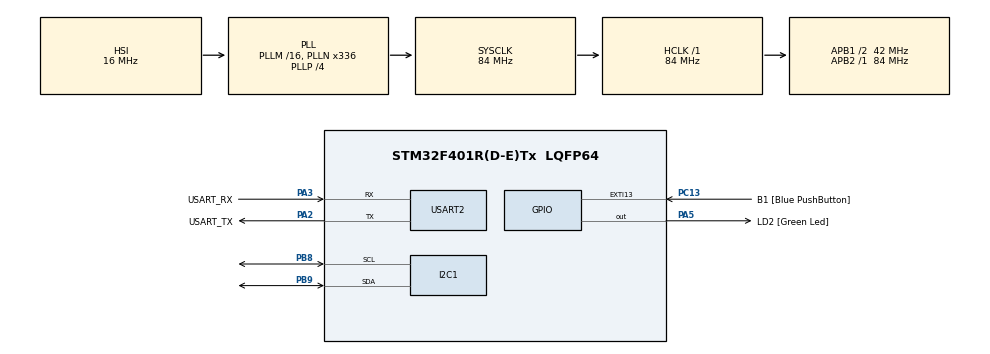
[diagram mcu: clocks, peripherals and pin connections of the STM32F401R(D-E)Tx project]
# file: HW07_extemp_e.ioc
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Dma.I2C1_RX.2.Direction=DMA_PERIPH_TO_MEMORY
Dma.I2C1_RX.2.FIFOMode=DMA_FIFOMODE_DISABLE
Dma.I2C1_RX.2.Instance=DMA1_Stream0
Dma.I2C1_RX.2.MemDataAlignment=DMA_MDATAALIGN_BYTE
Dma.I2C1_RX.2.MemInc=DMA_MINC_ENABLE
Dma.I2C1_RX.2.Mode=DMA_NORMAL
Dma.I2C1_RX.2.PeriphDataAlignment=DMA_PDATAALIGN_BYTE
Dma.I2C1_RX.2.PeriphInc=DMA_PINC_DISABLE
Dma.I2C1_RX.2.Priority=DMA_PRIORITY_HIGH
Dma.I2C1_TX.1.Direction=DMA_MEMORY_TO_PERIPH
Dma.I2C1_TX.1.FIFOMode=DMA_FIFOMODE_DISABLE
Dma.I2C1_TX.1.Instance=DMA1_Stream7
Dma.I2C1_TX.1.MemDataAlignment=DMA_MDATAALIGN_BYTE
Dma.I2C1_TX.1.MemInc=DMA_MINC_ENABLE
Dma.I2C1_TX.1.Mode=DMA_NORMAL
Dma.I2C1_TX.1.PeriphDataAlignment=DMA_PDATAALIGN_BYTE
Dma.I2C1_TX.1.PeriphInc=DMA_PINC_DISABLE
Dma.I2C1_TX.1.Priority=DMA_PRIORITY_HIGH
Dma.Request0=USART2_TX
Dma.Request1=I2C1_TX
Dma.Request2=I2C1_RX
Dma.USART2_TX.0.Direction=DMA_MEMORY_TO_PERIPH
Dma.USART2_TX.0.FIFOMode=DMA_FIFOMODE_DISABLE
Dma.USART2_TX.0.Instance=DMA1_Stream6
Dma.USART2_TX.0.MemDataAlignment=DMA_MDATAALIGN_BYTE
Dma.USART2_TX.0.MemInc=DMA_MINC_ENABLE
Dma.USART2_TX.0.Mode=DMA_NORMAL
Dma.USART2_TX.0.PeriphDataAlignment=DMA_PDATAALIGN_BYTE
Dma.USART2_TX.0.PeriphInc=DMA_PINC_DISABLE
Dma.USART2_TX.0.Priority=DMA_PRIORITY_HIGH
Mcu.Family=STM32F4
Mcu.Name=STM32F401R(D-E)Tx
Mcu.Package=LQFP64
NVIC.DMA1_Stream0_IRQn=true\:0\:0\:false\:false\:true\:false\:true\:true
NVIC.DMA1_Stream6_IRQn=true\:0\:0\:false\:false\:true\:false\:true\:true
NVIC.DMA1_Stream7_IRQn=true\:0\:0\:false\:false\:true\:false\:true\:true
NVIC.PriorityGroup=NVIC_PRIORITYGROUP_0
NVIC.TIM2_IRQn=true\:0\:0\:false\:false\:true\:true\:true\:true
NVIC.USART2_IRQn=true\:0\:0\:false\:false\:true\:true\:true\:true
PA13.GPIO_Label=TMS
PA13.Mode=Serial_Wire
PA13.Signal=SYS_JTMS-SWDIO
PA14.GPIO_Label=TCK
PA14.Mode=Serial_Wire
PA14.Signal=SYS_JTCK-SWCLK
PA2.GPIO_Label=USART_TX
PA2.GPIO_Mode=GPIO_MODE_AF_PP
PA2.GPIO_PuPd=GPIO_NOPULL
PA2.GPIO_Speed=GPIO_SPEED_FREQ_LOW
PA2.Mode=Asynchronous
PA2.Signal=USART2_TX
PA3.GPIO_Label=USART_RX
PA3.GPIO_Mode=GPIO_MODE_AF_PP
PA3.GPIO_PuPd=GPIO_NOPULL
PA3.GPIO_Speed=GPIO_SPEED_FREQ_LOW
PA3.Mode=Asynchronous
PA3.Signal=USART2_RX
PA5.GPIO_Label=LD2 [Green Led]
PA5.GPIO_Mode=GPIO_MODE_OUTPUT_PP
PA5.GPIO_PuPd=GPIO_NOPULL
PA5.GPIO_Speed=GPIO_SPEED_FREQ_LOW
PA5.Signal=GPIO_Output
PB3.GPIO_Label=SWO
PB3.Signal=SYS_JTDO-SWO
PB8.Mode=I2C
PB8.Signal=I2C1_SCL
PB9.Mode=I2C
PB9.Signal=I2C1_SDA
PC13-ANTI_TAMP.GPIO_Label=B1 [Blue PushButton]
PC13-ANTI_TAMP.GPIO_ModeDefaultEXTI=GPIO_MODE_IT_FALLING
PC13-ANTI_TAMP.GPIO_PuPd=GPIO_NOPULL
PC13-ANTI_TAMP.Signal=GPXTI13
PC14-OSC32_IN.Mode=LSE-External-Oscillator
PC14-OSC32_IN.Signal=RCC_OSC32_IN
PC15-OSC32_OUT.Mode=LSE-External-Oscillator
PC15-OSC32_OUT.Signal=RCC_OSC32_OUT
PH0\ -\ OSC_IN.Mode=HSE-External-Clock-Source
PH0\ -\ OSC_IN.Signal=RCC_OSC_IN
PH1\ -\ OSC_OUT.Mode=HSE-External-Clock-Source
PH1\ -\ OSC_OUT.Signal=RCC_OSC_OUT
ProjectManager.HeapSize=0x200
ProjectManager.StackSize=0x400
ProjectManager.TargetToolchain=STM32CubeIDE
RCC.48MHZClocksFreq_Value=48000000
RCC.AHBFreq_Value=84000000
RCC.APB1CLKDivider=RCC_HCLK_DIV2
RCC.APB1Freq_Value=42000000
RCC.APB1TimFreq_Value=84000000
RCC.APB2Freq_Value=84000000
RCC.APB2TimFreq_Value=84000000
RCC.CortexFreq_Value=84000000
RCC.HCLKFreq_Value=84000000
RCC.HSE_VALUE=8000000
RCC.HSI_VALUE=16000000
RCC.PLLN=336
RCC.PLLP=RCC_PLLP_DIV4
RCC.PLLQ=7
RCC.SYSCLKFreq_VALUE=84000000
RCC.SYSCLKSource=RCC_SYSCLKSOURCE_PLLCLK
RCC.VCOOutputFreq_Value=336000000
TIM2.Period=83999
TIM2.Prescaler=999
USART2.VirtualMode=VM_ASYNC
VP_TIM2_VS_ClockSourceINT.Mode=Internal
board=NUCLEO-F401RE

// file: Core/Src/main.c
/* USER CODE BEGIN Header */
/**
  ******************************************************************************
  * @file           : main.c
  * @brief          : Main program body
  ******************************************************************************
  * @attention
  *
  * Copyright (c) 2024 STMicroelectronics.
  * All rights reserved.
  *
  * This software is licensed under terms that can be found in the LICENSE file
  * in the root directory of this software component.
  * If no LICENSE file comes with this software, it is provided AS-IS.
  *
  ******************************************************************************
  */
/* USER CODE END Header */
#include "main.h"

/* USER CODE BEGIN PD */
#define LM75_PRECISION 0.5f // Or 0.125f
#define LM75_SIGNIFICANT_BITS 9 // Or 11
#define LM75_ADDRESS_W 0b10010000
#define LM75_ADDRESS_R 0b10010001

/* USER CODE END PD */

I2C_HandleTypeDef hi2c1;
DMA_HandleTypeDef hdma_i2c1_tx;
DMA_HandleTypeDef hdma_i2c1_rx;

TIM_HandleTypeDef htim2;

UART_HandleTypeDef huart2;
DMA_HandleTypeDef hdma_usart2_tx;

/* USER CODE BEGIN PV */

const uint8_t LM75_TEMP_ADDRESS = 0x00;
uint8_t buffer[2];
uint16_t previous;
uint16_t current;
uint8_t call_count = 0;
float f;
char output[28];

/* USER CODE END PV */

void SystemClock_Config(void);
static void MX_GPIO_Init(void);
static void MX_DMA_Init(void);
static void MX_USART2_UART_Init(void);
static void MX_I2C1_Init(void);
static void MX_TIM2_Init(void);

/* USER CODE BEGIN 0 */
HAL_I2C_MasterRxCpltCallback(I2C_HandleTypeDef *hi2c) {
	if (hi2c != &hi2c1)
		return;
	if (call_count == 0) {
		// the first time we store the value and trigger a second read
		call_count = 1;
		previous = buffer[0];
		previous = (previous << 8) + buffer[1];
		HAL_I2C_Master_Receive_DMA(&hi2c1, LM75_ADDRESS_R, buffer, 2);
		return;
	}
	call_count = 0;
	current = buffer[0];
	current = (current << 8) + buffer[1];

	if ((previous >> 8) != (current >> 8) // check of the integer part
		&& (previous & 255) == (current & 255)) { // 255 == 0b0000000011111111
		// integer differs and decimal is the same, so we restart
		HAL_I2C_Master_Receive_DMA(&hi2c1, LM75_ADDRESS_R, buffer, 2);
		return;
	}

	previous = current & 32767; // Same as doing & 0b0111111111111111 (15 bits) to ignore the sign bit forcing it to be 0
	f = (float) (previous >> (16 - LM75_SIGNIFICANT_BITS)); // The shift can be 5 or 7 depending on the board revision
	if ((current >> 15) > 0) // if negative
		f *= -1;
	// One-liner: ((current >> 15) > 0 ? -1 : 1) * ((float) ((current & 32767) >> (16 - LM75_SIGNIFICANT_BITS)))
	snprintf(output, sizeof(output), "Temp:  %.3f C\r\n", current, f * LM75_PRECISION); // The factor can be 0.125 or 0.5 depending on the board revision
	HAL_UART_Transmit_DMA(&huart2, output, strlen(output));
}

HAL_TIM_PeriodElapsedCallback(TIM_HandleTypeDef *htim){
	if(htim == &htim2){
		HAL_I2C_Master_Receive_DMA(&hi2c1, LM75_ADDRESS_R, buffer, 2);

	}
}
/* USER CODE END 0 */

int main(void)
{

  /* MCU Configuration--------------------------------------------------------*/

  /* Reset of all peripherals, Initializes the Flash interface and the Systick. */
  HAL_Init();

  /* Configure the system clock */
  SystemClock_Config();

  /* Initialize all configured peripherals */
  MX_GPIO_Init();
  MX_DMA_Init();
  MX_USART2_UART_Init();
  MX_I2C1_Init();
  MX_TIM2_Init();
  /* USER CODE BEGIN 2 */

  HAL_I2C_Master_Transmit(&hi2c1, LM75_ADDRESS_W, &LM75_TEMP_ADDRESS, 1, 10);

  HAL_TIM_Base_Start_IT(&htim2);

  /* USER CODE END 2 */

  /* Infinite loop */
  while (1)
  {

  }
}

void SystemClock_Config(void)
{
  RCC_OscInitTypeDef RCC_OscInitStruct = {0};
  RCC_ClkInitTypeDef RCC_ClkInitStruct = {0};

  /** Configure the main internal regulator output voltage
  */
  __HAL_RCC_PWR_CLK_ENABLE();
  __HAL_PWR_VOLTAGESCALING_CONFIG(PWR_REGULATOR_VOLTAGE_SCALE2);

  /** Initializes the RCC Oscillators according to the specified parameters
  * in the RCC_OscInitTypeDef structure.
  */
  RCC_OscInitStruct.OscillatorType = RCC_OSCILLATORTYPE_HSI;
  RCC_OscInitStruct.HSIState = RCC_HSI_ON;
  RCC_OscInitStruct.HSICalibrationValue = RCC_HSICALIBRATION_DEFAULT;
  RCC_OscInitStruct.PLL.PLLState = RCC_PLL_ON;
  RCC_OscInitStruct.PLL.PLLSource = RCC_PLLSOURCE_HSI;
  RCC_OscInitStruct.PLL.PLLM = 16;
  RCC_OscInitStruct.PLL.PLLN = 336;
  RCC_OscInitStruct.PLL.PLLP = RCC_PLLP_DIV4;
  RCC_OscInitStruct.PLL.PLLQ = 7;
  if (HAL_RCC_OscConfig(&RCC_OscInitStruct) != HAL_OK)
  {
    Error_Handler();
  }

  /** Initializes the CPU, AHB and APB buses clocks
  */
  RCC_ClkInitStruct.ClockType = RCC_CLOCKTYPE_HCLK|RCC_CLOCKTYPE_SYSCLK
                              |RCC_CLOCKTYPE_PCLK1|RCC_CLOCKTYPE_PCLK2;
  RCC_ClkInitStruct.SYSCLKSource = RCC_SYSCLKSOURCE_PLLCLK;
  RCC_ClkInitStruct.AHBCLKDivider = RCC_SYSCLK_DIV1;
  RCC_ClkInitStruct.APB1CLKDivider = RCC_HCLK_DIV2;
  RCC_ClkInitStruct.APB2CLKDivider = RCC_HCLK_DIV1;

  if (HAL_RCC_ClockConfig(&RCC_ClkInitStruct, FLASH_LATENCY_2) != HAL_OK)
  {
    Error_Handler();
  }
}

static void MX_I2C1_Init(void)
{

  hi2c1.Instance = I2C1;
  hi2c1.Init.ClockSpeed = 100000;
  hi2c1.Init.DutyCycle = I2C_DUTYCYCLE_2;
  hi2c1.Init.OwnAddress1 = 0;
  hi2c1.Init.AddressingMode = I2C_ADDRESSINGMODE_7BIT;
  hi2c1.Init.DualAddressMode = I2C_DUALADDRESS_DISABLE;
  hi2c1.Init.OwnAddress2 = 0;
  hi2c1.Init.GeneralCallMode = I2C_GENERALCALL_DISABLE;
  hi2c1.Init.NoStretchMode = I2C_NOSTRETCH_DISABLE;
  if (HAL_I2C_Init(&hi2c1) != HAL_OK)
  {
    Error_Handler();
  }

}

static void MX_TIM2_Init(void)
{

  TIM_ClockConfigTypeDef sClockSourceConfig = {0};
  TIM_MasterConfigTypeDef sMasterConfig = {0};

  htim2.Instance = TIM2;
  htim2.Init.Prescaler = 999;
  htim2.Init.CounterMode = TIM_COUNTERMODE_UP;
  htim2.Init.Period = 83999;
  htim2.Init.ClockDivision = TIM_CLOCKDIVISION_DIV1;
  htim2.Init.AutoReloadPreload = TIM_AUTORELOAD_PRELOAD_DISABLE;
  if (HAL_TIM_Base_Init(&htim2) != HAL_OK)
  {
    Error_Handler();
  }
  sClockSourceConfig.ClockSource = TIM_CLOCKSOURCE_INTERNAL;
  if (HAL_TIM_ConfigClockSource(&htim2, &sClockSourceConfig) != HAL_OK)
  {
    Error_Handler();
  }
  sMasterConfig.MasterOutputTrigger = TIM_TRGO_RESET;
  sMasterConfig.MasterSlaveMode = TIM_MASTERSLAVEMODE_DISABLE;
  if (HAL_TIMEx_MasterConfigSynchronization(&htim2, &sMasterConfig) != HAL_OK)
  {
    Error_Handler();
  }

}

static void MX_USART2_UART_Init(void)
{

  huart2.Instance = USART2;
  huart2.Init.BaudRate = 115200;
  huart2.Init.WordLength = UART_WORDLENGTH_8B;
  huart2.Init.StopBits = UART_STOPBITS_1;
  huart2.Init.Parity = UART_PARITY_NONE;
  huart2.Init.Mode = UART_MODE_TX_RX;
  huart2.Init.HwFlowCtl = UART_HWCONTROL_NONE;
  huart2.Init.OverSampling = UART_OVERSAMPLING_16;
  if (HAL_UART_Init(&huart2) != HAL_OK)
  {
    Error_Handler();
  }

}

static void MX_DMA_Init(void)
{

  /* DMA controller clock enable */
  __HAL_RCC_DMA1_CLK_ENABLE();

  /* DMA interrupt init */
  /* DMA1_Stream0_IRQn interrupt configuration */
  HAL_NVIC_SetPriority(DMA1_Stream0_IRQn, 0, 0);
  HAL_NVIC_EnableIRQ(DMA1_Stream0_IRQn);
  /* DMA1_Stream6_IRQn interrupt configuration */
  HAL_NVIC_SetPriority(DMA1_Stream6_IRQn, 0, 0);
  HAL_NVIC_EnableIRQ(DMA1_Stream6_IRQn);
  /* DMA1_Stream7_IRQn interrupt configuration */
  HAL_NVIC_SetPriority(DMA1_Stream7_IRQn, 0, 0);
  HAL_NVIC_EnableIRQ(DMA1_Stream7_IRQn);

}

static void MX_GPIO_Init(void)
{
  GPIO_InitTypeDef GPIO_InitStruct = {0};

  /* GPIO Ports Clock Enable */
  __HAL_RCC_GPIOC_CLK_ENABLE();
  __HAL_RCC_GPIOH_CLK_ENABLE();
  __HAL_RCC_GPIOA_CLK_ENABLE();
  __HAL_RCC_GPIOB_CLK_ENABLE();

  /*Configure GPIO pin Output Level */
  HAL_GPIO_WritePin(LD2_GPIO_Port, LD2_Pin, GPIO_PIN_RESET);

  /*Configure GPIO pin : B1_Pin */
  GPIO_InitStruct.Pin = B1_Pin;
  GPIO_InitStruct.Mode = GPIO_MODE_IT_FALLING;
  GPIO_InitStruct.Pull = GPIO_NOPULL;
  HAL_GPIO_Init(B1_GPIO_Port, &GPIO_InitStruct);

  /*Configure GPIO pin : LD2_Pin */
  GPIO_InitStruct.Pin = LD2_Pin;
  GPIO_InitStruct.Mode = GPIO_MODE_OUTPUT_PP;
  GPIO_InitStruct.Pull = GPIO_NOPULL;
  GPIO_InitStruct.Speed = GPIO_SPEED_FREQ_LOW;
  HAL_GPIO_Init(LD2_GPIO_Port, &GPIO_InitStruct);

}

void Error_Handler(void)
{
  __disable_irq();
  while (1)
  {
  }
}
